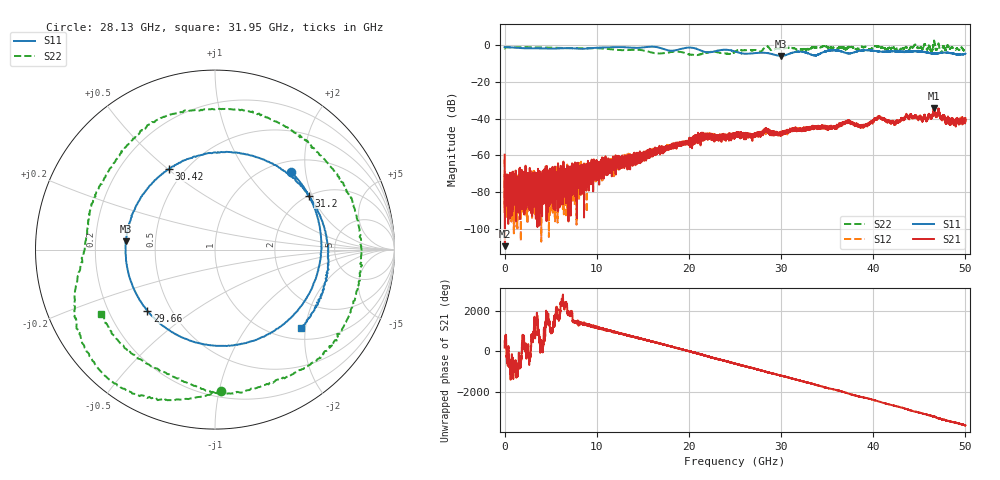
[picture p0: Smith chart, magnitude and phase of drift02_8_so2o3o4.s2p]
!Created with skrf (http://scikit-rf.org).
# Hz S RI R 50.0
!freq ReS11 ImS11 ReS21 ImS21 ReS12 ImS12 ReS22 ImS22
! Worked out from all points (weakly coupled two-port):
!   10001 points, 300 kHz to 50 GHz, reference 50 ohm
!   highest |S21| = -34.29 dB at 46.61 GHz (marker M1); lowest = -109.1 dB at 30.3 MHz (marker M2)
!   lowest |S11| = -6.1 dB at 30.01 GHz (marker M3), VSWR 2.97, Z = 16.9 + j2.06 ohm
!   |S11| at or under -10 dB: nowhere
!   |S22| runs from -5.7 to 2.3 dB; largest |S21 - S12| = 0.0032
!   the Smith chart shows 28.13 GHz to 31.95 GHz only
!   S11 on the Smith chart (normalised r, x): 28.13 GHz: 1.21, +1.67; 29.66 GHz: 0.37, -0.34; 30.42 GHz: 0.41, +0.51; 31.2 GHz: 2.00, +1.89; 31.95 GHz: 1.25, -1.89
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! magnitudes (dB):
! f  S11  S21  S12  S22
! 300 kHz  -1.3  -59.6  -62.3  -2.1
! 30.3 MHz  -1.3  -109.1  -73.6  -1.8
! 335.3 MHz  -1.3  -70.4  -78.0  -1.4
! 4.98 GHz  -2.1  -77.5  -85.2  -1.6
! 8.335 GHz  -2.2  -72.7  -67.9  -1.9
! 16.67 GHz  -1.5  -56.8  -57.1  -4.7
! 21.53 GHz  -3.6  -50.4  -49.0  -4.7
! 25 GHz  -3.7  -48.1  -48.8  -3.9
! 28.13 GHz  -4.3  -47.0  -47.0  -2.1
! 29.66 GHz  -5.9  -48.2  -48.6  -2.1
! 30.01 GHz  -6.1  -47.0  -47.9  -2.1
! 30.42 GHz  -5.7  -47.1  -47.5  -1.9
! 31.2 GHz  -4.4  -45.4  -46.4  -1.7
! 31.95 GHz  -3.7  -45.9  -45.5  -2.7
! 33.34 GHz  -5.5  -45.0  -44.8  -1.5
! 37.27 GHz  -4.7  -41.4  -41.6  -1.4
! 38.8 GHz  -3.1  -44.0  -44.1  -1.0
! 40.66 GHz  -3.7  -38.5  -38.8  -0.8
! 41.67 GHz  -3.7  -40.9  -41.1  -1.9
! 46.61 GHz  -4.7  -34.3  -34.4  2.3
! 48.53 GHz  -4.7  -40.1  -41.1  -1.5
! 50 GHz  -4.9  -39.8  -40.5  -2.6
